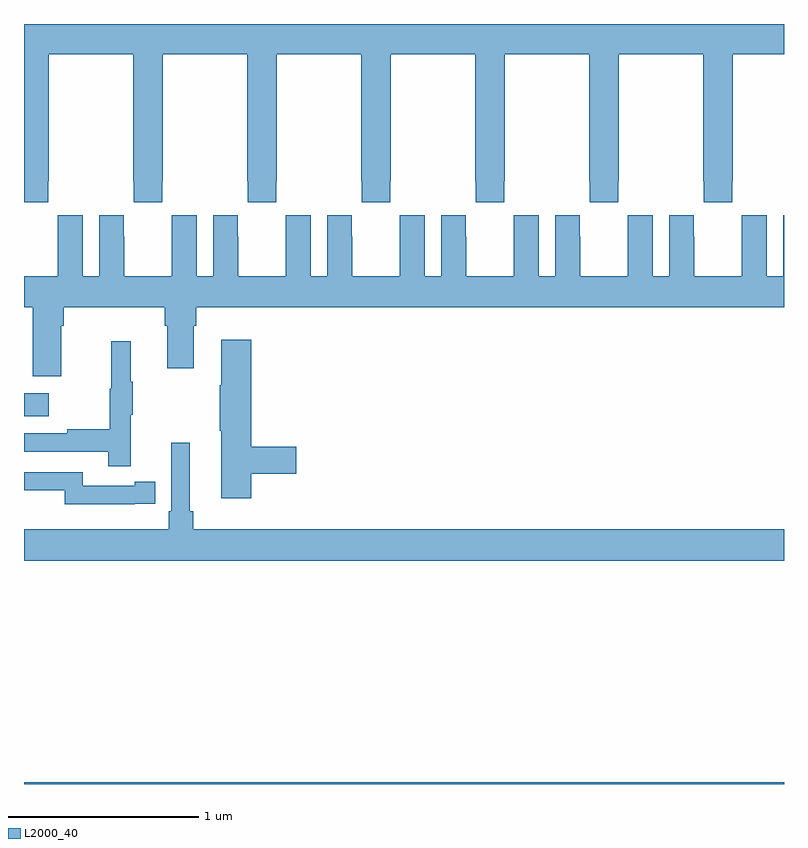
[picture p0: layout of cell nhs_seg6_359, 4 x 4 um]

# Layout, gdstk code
import gdstk
lib = gdstk.Library(unit=1e-6, precision=1e-09)
def R(c, l, rs):  # rectangles x0, y0, x1, y1
    for r in rs: c.add(gdstk.rectangle(r[:2], r[2:], *l))
def P(c, l, *ps):  # polygons
    for p in ps: c.add(gdstk.Polygon(p, *l))
L2000_40 = (2000, 40)

nhs_seg6_359 = lib.new_cell('nhs_seg6_359')
R(nhs_seg6_359, L2000_40, [(131,939.5,135,939.508), (131,941.435,131.131,941.557)])
P(nhs_seg6_359, L2000_40, [(131,942.561),(131.127,942.561),(131.127,942.673),(131.13,942.673),(131.13,943.34),(131.575,943.34),(131.575,942.673),(131.577,942.673),(131.577,942.561),(131.727,942.561),(131.727,942.673),(131.73,942.673),(131.73,943.34),(132.175,943.34),(132.175,942.673),(132.177,942.673),(132.177,942.561),(132.327,942.561),(132.327,942.673),(132.33,942.673),(132.33,943.34),(132.775,943.34),(132.775,942.673),(132.777,942.673),(132.777,942.561),(132.927,942.561),(132.927,942.673),(132.93,942.673),(132.93,943.34),(133.375,943.34),(133.375,942.673),(133.377,942.673),(133.377,942.561),(133.527,942.561),(133.527,942.673),(133.53,942.673),(133.53,943.34),(133.975,943.34),(133.975,942.673),(133.977,942.673),(133.977,942.561),(134.127,942.561),(134.127,942.673),(134.13,942.673),(134.13,943.34),(134.575,943.34),(134.575,942.673),(134.577,942.673),(134.577,942.561),(134.727,942.561),(134.727,942.673),(134.73,942.673),(134.73,943.34),(135,943.34),(135,943.5),(131,943.5)],
  [(135,942.493),(134.996,942.493),(134.996,942.172),(134.908,942.172),(134.908,942.493),(134.778,942.493),(134.778,942.38),(134.777,942.38),(134.777,942.172),(134.527,942.172),(134.527,942.38),(134.526,942.38),(134.526,942.493),(134.396,942.493),(134.396,942.172),(134.308,942.172),(134.308,942.493),(134.178,942.493),(134.178,942.38),(134.177,942.38),(134.177,942.172),(133.927,942.172),(133.927,942.38),(133.926,942.38),(133.926,942.493),(133.796,942.493),(133.796,942.172),(133.708,942.172),(133.708,942.493),(133.578,942.493),(133.578,942.38),(133.577,942.38),(133.577,942.172),(133.327,942.172),(133.327,942.38),(133.326,942.38),(133.326,942.493),(133.196,942.493),(133.196,942.172),(133.108,942.172),(133.108,942.493),(132.978,942.493),(132.978,942.38),(132.977,942.38),(132.977,942.172),(132.727,942.172),(132.727,942.38),(132.726,942.38),(132.726,942.493),(132.596,942.493),(132.596,942.172),(132.508,942.172),(132.508,942.493),(132.378,942.493),(132.378,942.38),(132.377,942.38),(132.377,942.172),(132.127,942.172),(132.127,942.38),(132.126,942.38),(132.126,942.493),(131.996,942.493),(131.996,942.172),(131.908,942.172),(131.908,942.493),(131.778,942.493),(131.778,942.38),(131.777,942.38),(131.777,942.172),(131.527,942.172),(131.527,942.38),(131.526,942.38),(131.526,942.493),(131.396,942.493),(131.396,942.172),(131.308,942.172),(131.308,942.493),(131.178,942.493),(131.178,942.38),(131.177,942.38),(131.177,942.172),(131,942.172),(131,942.008),(131.045,942.008),(131.045,941.646),(131.197,941.646),(131.197,941.912),(131.21,941.912),(131.21,942.008),(131.741,942.008),(131.741,941.912),(131.753,941.912),(131.753,941.688),(131.893,941.688),(131.893,941.912),(131.906,941.912),(131.906,942.008),(135,942.008)],
  [(132.197,941.134),(132.433,941.134),(132.433,941.276),(132.197,941.276),(132.197,941.839),(132.038,941.839),(132.038,941.6),(132.031,941.6),(132.031,941.359),(132.038,941.359),(132.038,941.004),(132.197,941.004)],
  [(131.561,941.443),(131.572,941.443),(131.572,941.617),(131.561,941.617),(131.561,941.83),(131.458,941.83),(131.458,941.58),(131.451,941.58),(131.451,941.366),(131.227,941.366),(131.227,941.346),(131,941.346),(131,941.25),(131.443,941.25),(131.443,941.172),(131.561,941.172)],
  [(135,940.84),(131.891,940.84),(131.891,940.936),(131.872,940.936),(131.872,941.296),(131.775,941.296),(131.775,940.936),(131.762,940.936),(131.762,940.84),(131,940.84),(131,940.676),(135,940.676)],
  [(131.582,940.974),(131.69,940.974),(131.69,941.09),(131.582,941.09),(131.582,941.07),(131.31,941.07),(131.31,941.142),(131,941.142),(131,941.046),(131.214,941.046),(131.214,940.973),(131.582,940.973)])

lib.write_gds('nhs_seg6_359.gds')
